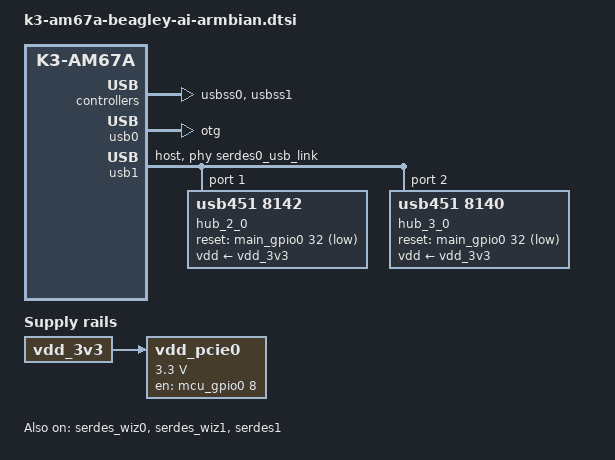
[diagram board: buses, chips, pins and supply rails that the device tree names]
// SPDX-License-Identifier: GPL-2.0-only OR MIT
/*
 * Armbian board supplement for BeagleY-AI.
 *
 * Keep board-local USB and PCIe wiring outside the upstream-maintained base
 * DTS so kernel updates can carry their normal device-tree fixes unchanged.
 */

#include <dt-bindings/phy/phy.h>
#include "k3-serdes.h"

&{/aliases} {
	usb0 = &usb0;
	usb1 = &usb1;
};

/ {
	vdd_pcie0: regulator-pcie0 {
		compatible = "regulator-fixed";
		regulator-name = "vdd_pcie0";
		pinctrl-names = "default";
		pinctrl-0 = <&pcie0_3v3_pins_default>;
		regulator-min-microvolt = <3300000>;
		regulator-max-microvolt = <3300000>;
		vin-supply = <&vdd_3v3>;
		enable-active-high;
		gpio = <&mcu_gpio0 8 GPIO_ACTIVE_HIGH>;
		regulator-always-on;
		regulator-boot-on;
	};
};

&main_pmx0 {
	main_usb1_pins_default: main-usb1-default-pins {
		pinctrl-single,pins = <
			J722S_IOPAD(0x0258, PIN_INPUT, 0) /* (B27) USB1_DRVVBUS */
		>;
	};

	usb_hub: usb-hub-default-pins {
		pinctrl-single,pins = <
			J722S_IOPAD(0x0084, PIN_OUTPUT, 7) /* (N21) GPMC0_ADVn_ALE.GPIO0_32 */
		>;
	};
};

&mcu_pmx0 {
	pcie_pins_default: pcie-default-pins {
		pinctrl-single,pins = <
			J722S_MCU_IOPAD(0x0018, PIN_OUTPUT, 7) /* (B4) MCU_UART0_TXD.MCU_GPIO0_6 */
			J722S_MCU_IOPAD(0x0014, PIN_INPUT, 7) /* (B8) MCU_UART0_RXD.MCU_GPIO0_5 */
		>;
		bootph-all;
	};

	pcie0_3v3_pins_default: pcie0-3v3-default-pins {
		pinctrl-single,pins = <
			J722S_MCU_IOPAD(0x0020, PIN_OUTPUT, 7) /* (C5) MCU_UART0_RTSn.MCU_GPIO0_8 */
		>;
	};
};

&serdes_wiz0 {
	status = "okay";
};

&serdes_wiz1 {
	status = "okay";
};

&serdes1 {
	status = "okay";
};

&pcie0_rc {
	/delete-property/ enable-gpios;
};

&usbss0 {
	ti,vbus-divider;
	status = "okay";
};

&usb0 {
	dr_mode = "otg";
	usb-role-switch;
};

&usbss1 {
	pinctrl-names = "default";
	pinctrl-0 = <&main_usb1_pins_default>;
	ti,vbus-divider;
	status = "okay";
};

&usb1 {
	dr_mode = "host";
	maximum-speed = "super-speed";
	phys = <&serdes0_usb_link>;
	phy-names = "cdns3,usb3-phy";

	#address-cells = <1>;
	#size-cells = <0>;
	pinctrl-names = "default";
	pinctrl-0 = <&usb_hub>;
	status = "okay";

	/* USB 2.0 hub on port 1 */
	hub_2_0: hub@1 {
		compatible = "usb451,8142";
		reg = <1>;
		peer-hub = <&hub_3_0>;
		reset-gpios = <&main_gpio0 32 GPIO_ACTIVE_LOW>;
		vdd-supply = <&vdd_3v3>;
	};

	/* USB 3.0 hub on port 2 */
	hub_3_0: hub@2 {
		compatible = "usb451,8140";
		reg = <2>;
		peer-hub = <&hub_2_0>;
		reset-gpios = <&main_gpio0 32 GPIO_ACTIVE_LOW>;
		vdd-supply = <&vdd_3v3>;
	};
};
